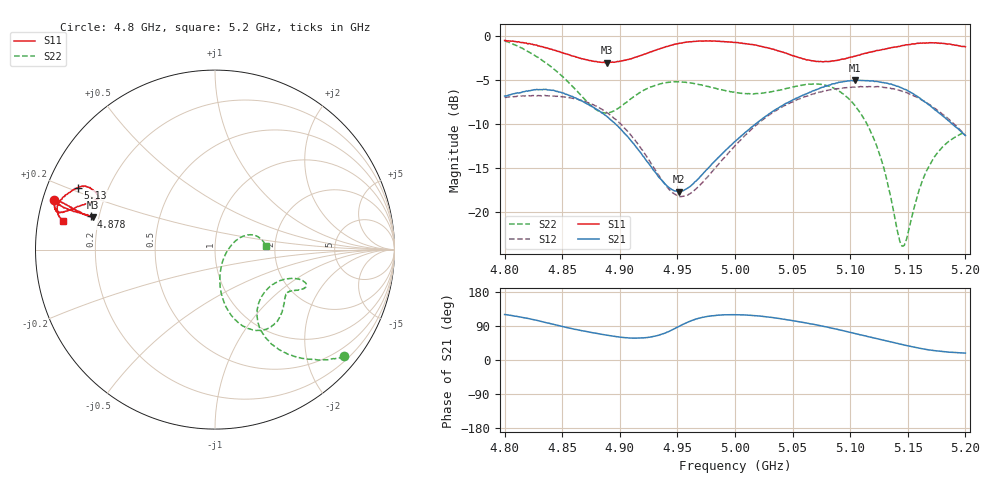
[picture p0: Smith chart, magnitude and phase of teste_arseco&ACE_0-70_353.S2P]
! Network Analyzer HP8722D
! Hewlett-Packard
! Data name: Linha & Wilkinson
! Saver's name: Rodrigo Anjos
! Comments: Teste da utilização de aquisição
! continua pelo VNA HP8722D
! Time and date: 8/5/2025 15:42
!  Frequency  S11  S21  S12  S22
# HZ  S  MA R 50
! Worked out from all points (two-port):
!   401 points, 4.8 GHz to 5.2 GHz, reference 50 ohm
!   highest |S21| = -5.06 dB at 5.104 GHz (marker M1); lowest = -17.7 dB at 4.951 GHz (marker M2)
!   |S21| within 3 dB of the highest: start of sweep to 4.876 GHz; 5.039 GHz to 5.17 GHz (130.9 MHz wide, 2.56 % of centre)
!   lowest |S11| = -3.1 dB at 4.889 GHz (marker M3), VSWR 5.72, Z = 8.88 + j6.28 ohm
!   |S11| at or under -10 dB: nowhere
!   |S22| runs from -23.9 to -0.6 dB; largest |S21 - S12| = 0.73
!   S11 on the Smith chart (normalised r, x): 4.8 GHz: 0.03, +0.15; 4.878 GHz: 0.17, +0.13; 5.13 GHz: 0.09, +0.21; 5.2 GHz: 0.07, +0.09
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4.8e9  0.9387 163.0  0.4543 120.1  0.4472 15.4  0.9317 -39.5
4.833e9  0.8639 164.5  0.4938 101.0  0.4551 4.8  0.7206 -54.4
4.867e9  0.7389 164.9  0.4268 77.4  0.4292 -10.2  0.4538 -58.6
4.878e9  0.7128 165.0  0.3885 71.2  0.4022 -16.3  0.3861 -51.1
4.889e9  0.7025 165.2  0.3471 65.4  0.3648 -22.7  0.3645 -38.4
4.908e9  0.7336 164.9  0.2617 58.0  0.2803 -32.0  0.4303 -22.3
4.934e9  0.8383 163.7  0.157 65.5  0.1608 -29.3  0.5301 -20.0
4.951e9  0.9025 162.8  0.1306 88.1  0.123 -6.2  0.5474 -22.1
4.965e9  0.9279 162.7  0.148 106.8  0.133 15.8  0.5345 -24.4
5e9  0.9153 166.1  0.2509 119.5  0.2376 37.5  0.4754 -29.2
5.034e9  0.8344 164.4  0.3765 111.2  0.3708 32.1  0.4842 -37.0
5.067e9  0.7198 157.6  0.4845 94.8  0.4653 17.1  0.5312 -51.8
5.086e9  0.7191 155.2  0.5334 82.9  0.4971 6.4  0.5025 -63.4
5.104e9  0.7634 154.0  0.5582 70.1  0.5099 -4.5  0.4022 -74.5
5.119e9  0.8105 154.1  0.5532 59.3  0.5121 -14.0  0.2746 -81.1
5.13e9  0.8363 155.7  0.5382 51.7  0.5072 -21.1  0.1693 -81.0
5.134e9  0.8485 156.5  0.5315 48.9  0.5036 -24.0  0.1318 -77.3
5.142e9  0.8681 158.3  0.5146 43.2  0.4908 -29.2  0.07286 -51.5
5.146e9  0.8802 159.4  0.5008 40.2  0.4801 -31.8  0.06409 -23.3
5.16e9  0.9052 162.5  0.4437 30.9  0.4392 -40.2  0.1345 24.1
5.169e9  0.9118 164.4  0.4029 26.5  0.4062 -44.9  0.1848 25.1
5.2e9  0.8633 169.3  0.2711 18.3  0.2714 -54.1  0.2832 4.2
